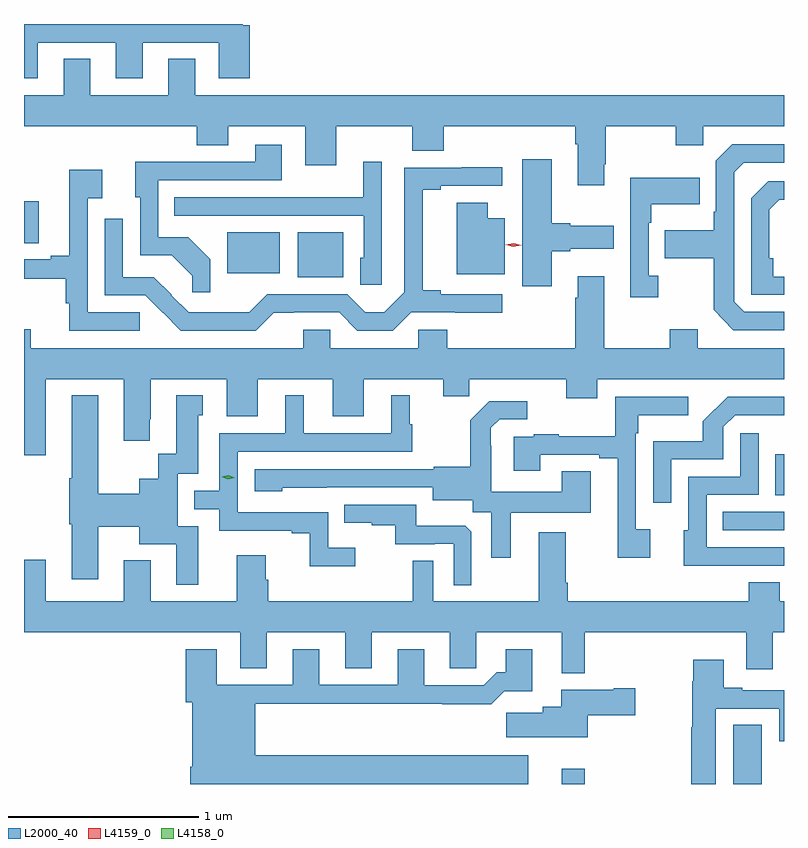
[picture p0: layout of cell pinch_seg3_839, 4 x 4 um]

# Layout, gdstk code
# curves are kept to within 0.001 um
import gdstk
lib = gdstk.Library(unit=1e-6, precision=1e-09)
def R(c, l, rs):  # rectangles x0, y0, x1, y1
    for r in rs: c.add(gdstk.rectangle(r[:2], r[2:], *l))
def P(c, l, *ps):  # polygons
    for p in ps: c.add(gdstk.Polygon(p, *l))
L2000_40 = (2000, 40)
L4158_0 = (4158, 0)
L4159_0 = (4159, 0)

pinch_seg3_839 = lib.new_cell('pinch_seg3_839')
R(pinch_seg3_839, L2000_40, [(723.233,738.746,723.355,738.826), (724.136,738.746,724.285,739.058), (724.081,740.082,724.403,740.178), (724.358,740.267,724.403,740.482), (721.844,741.413,722.083,741.649), (721.472,741.434,721.75,741.649), (720.403,741.592,720.481,741.813)])
P(pinch_seg3_839, L2000_40, [(720.475,742.647),(720.887,742.647),(720.887,742.461),(721.027,742.461),(721.027,742.647),(721.427,742.647),(721.427,742.461),(721.592,742.461),(721.592,742.74),(721.555,742.74),(721.555,742.746),(720.403,742.746),(720.403,742.461),(720.475,742.461)],
  [(721.303,742.562),(721.163,742.562),(721.163,742.372),(720.751,742.372),(720.751,742.562),(720.611,742.562),(720.611,742.372),(720.403,742.372),(720.403,742.208),(721.313,742.208),(721.313,742.109),(721.477,742.109),(721.477,742.208),(721.883,742.208),(721.883,742.002),(722.047,742.002),(722.047,742.208),(722.447,742.208),(722.447,742.08),(722.611,742.08),(722.611,742.208),(723.305,742.208),(723.305,742.112),(723.317,742.112),(723.317,741.897),(723.457,741.897),(723.457,742.009),(723.465,742.009),(723.465,742.208),(723.832,742.208),(723.832,742.109),(723.978,742.109),(723.978,742.208),(724.403,742.208),(724.403,742.372),(721.303,742.372)],
  [(724.403,741.231),(724.194,741.231),(724.14,741.285),(724.14,741.966),(724.191,742.017),(724.403,742.017),(724.403,742.113),(724.131,742.113),(724.044,742.026),(724.044,741.757),(724.032,741.757),(724.032,741.661),(723.775,741.661),(723.775,741.514),(724.032,741.514),(724.032,741.241),(724.137,741.135),(724.403,741.135)],
  [(721.383,741.508),(721.267,741.624),(721.11,741.624),(721.11,741.924),(721.759,741.924),(721.759,742.111),(721.619,742.111),(721.619,742.02),(721.207,742.02),(721.207,742.022),(720.989,742.022),(720.989,741.834),(721.014,741.834),(721.014,741.528),(721.18,741.528),(721.288,741.42),(721.288,741.333),(721.383,741.333)],
  [(723.181,741.551),(723.277,741.551),(723.277,741.563),(723.508,741.563),(723.508,741.685),(723.277,741.685),(723.277,741.698),(723.181,741.698),(723.181,742.033),(723.026,742.033),(723.026,741.366),(723.181,741.366)],
  [(722.286,742.021),(722.189,742.021),(722.189,741.835),(721.855,741.835),(721.855,741.834),(721.195,741.834),(721.195,741.738),(722.19,741.738),(722.19,741.516),(722.174,741.516),(722.174,741.373),(722.286,741.373)],
  [(721.718,741.227),(722.061,741.228),(722.157,741.132),(722.344,741.132),(722.44,741.228),(722.92,741.227),(722.92,741.324),(722.596,741.324),(722.596,741.344),(722.501,741.344),(722.501,741.874),(722.596,741.874),(722.596,741.894),(722.92,741.894),(722.92,741.992),(722.707,741.992),(722.707,741.99),(722.403,741.99),(722.403,741.333),(722.299,741.229),(722.198,741.229),(722.103,741.324),(721.683,741.324),(721.589,741.23),(721.484,741.23),(721.484,741.228),(721.269,741.228),(721.179,741.318),(721.181,741.32),(721.087,741.414),(720.924,741.414),(720.924,741.721),(720.828,741.721),(720.828,741.318),(721.041,741.318),(721.229,741.132),(721.623,741.132)],
  [(721.011,741.228),(720.738,741.228),(720.738,741.83),(720.814,741.83),(720.814,741.979),(720.641,741.979),(720.641,741.527),(720.545,741.527),(720.545,741.507),(720.403,741.507),(720.403,741.406),(720.622,741.406),(720.622,741.275),(720.641,741.275),(720.641,741.132),(721.011,741.132)],
  [(723.742,741.422),(723.69,741.422),(723.69,741.701),(723.703,741.701),(723.703,741.797),(723.959,741.797),(723.959,741.937),(723.594,741.937),(723.594,741.309),(723.742,741.309)],
  [(724.403,741.417),(724.346,741.417),(724.346,741.514),(724.326,741.514),(724.326,741.768),(724.379,741.821),(724.403,741.821),(724.403,741.918),(724.32,741.918),(724.23,741.828),(724.23,741.321),(724.403,741.321)],
  [(722.932,741.724),(722.845,741.724),(722.845,741.805),(722.681,741.805),(722.681,741.428),(722.932,741.428)],
  [(720.517,740.876),(720.929,740.876),(720.929,740.553),(721.066,740.553),(721.066,740.665),(721.069,740.665),(721.069,740.876),(721.469,740.876),(721.469,740.682),(721.633,740.682),(721.633,740.876),(722.027,740.876),(722.027,740.682),(722.191,740.682),(722.191,740.876),(722.609,740.876),(722.609,740.786),(722.747,740.786),(722.747,740.876),(723.257,740.876),(723.257,740.777),(723.421,740.777),(723.421,740.876),(724.403,740.876),(724.403,741.04),(723.949,741.04),(723.949,741.139),(723.802,741.139),(723.802,741.04),(723.457,741.04),(723.457,741.418),(723.317,741.418),(723.317,741.305),(723.305,741.305),(723.305,741.04),(722.63,741.04),(722.63,741.138),(722.478,741.138),(722.478,741.04),(722.016,741.04),(722.016,741.138),(721.874,741.138),(721.874,741.04),(720.439,741.04),(720.439,741.139),(720.403,741.139),(720.403,740.475),(720.517,740.475)],
  [(722.146,739.99),(722.004,739.99),(722.004,740.175),(721.527,740.175),(721.527,740.496),(722.446,740.496),(722.446,740.64),(722.434,740.64),(722.434,740.791),(722.336,740.791),(722.336,740.592),(721.876,740.592),(721.876,740.791),(721.778,740.791),(721.778,740.592),(721.431,740.592),(721.431,740.289),(721.298,740.289),(721.298,740.193),(721.431,740.193),(721.431,740.079),(721.811,740.079),(721.811,740.067),(721.906,740.067),(721.906,739.892),(722.146,739.892)],
  [(721.321,740.103),(721.212,740.103),(721.212,740.379),(721.321,740.379),(721.321,740.688),(721.345,740.688),(721.345,740.791),(721.205,740.791),(721.205,740.484),(721.109,740.484),(721.109,740.353),(721.01,740.353),(721.01,740.273),(720.793,740.273),(720.793,740.791),(720.653,740.791),(720.653,740.356),(720.641,740.356),(720.641,740.112),(720.653,740.112),(720.653,739.824),(720.793,739.824),(720.793,740.101),(721.01,740.101),(721.01,740.009),(721.205,740.009),(721.205,739.794),(721.321,739.794)],
  [(723.81,740.454),(724.083,740.454),(724.083,740.625),(724.146,740.688),(724.403,740.687),(724.403,740.784),(724.106,740.784),(723.976,740.654),(723.976,740.551),(723.714,740.551),(723.714,740.226),(723.81,740.226)],
  [(723.7,740.086),(723.624,740.086),(723.624,740.591),(723.637,740.591),(723.637,740.687),(723.898,740.687),(723.898,740.784),(723.516,740.784),(723.516,740.576),(723.217,740.576),(723.217,740.587),(723.085,740.587),(723.085,740.574),(722.981,740.574),(722.981,740.394),(723.121,740.394),(723.121,740.478),(723.431,740.478),(723.431,740.46),(723.527,740.46),(723.527,739.938),(723.7,739.938)],
  [(722.965,740.174),(723.385,740.174),(723.385,740.393),(723.233,740.393),(723.233,740.284),(722.862,740.284),(722.862,740.525),(722.86,740.525),(722.86,740.62),(722.907,740.667),(723.052,740.667),(723.052,740.761),(722.851,740.761),(722.751,740.661),(722.751,740.416),(722.559,740.416),(722.559,740.403),(721.617,740.403),(721.617,740.288),(721.761,740.288),(721.761,740.306),(722.555,740.307),(722.555,740.24),(722.766,740.24),(722.766,740.176),(722.861,740.176),(722.861,739.938),(722.965,739.938)],
  [(724.093,739.896),(724.403,739.896),(724.403,739.992),(723.996,739.992),(723.996,740.268),(724.269,740.268),(724.269,740.593),(724.173,740.593),(724.173,740.364),(723.9,740.364),(723.9,740.082),(723.875,740.082),(723.875,739.895),(724.093,739.895)],
  [(722.757,740.073),(722.725,740.105),(722.467,740.105),(722.467,740.217),(722.089,740.217),(722.089,740.12),(722.233,740.12),(722.233,740.109),(722.357,740.109),(722.357,740.007),(722.564,740.007),(722.564,740.01),(722.664,740.01),(722.664,739.793),(722.757,739.793)],
  [(723.355,739.544),(724.205,739.544),(724.205,739.35),(724.345,739.35),(724.345,739.544),(724.403,739.544),(724.403,739.708),(724.381,739.708),(724.381,739.807),(724.217,739.807),(724.217,739.708),(723.266,739.708),(723.266,739.804),(723.253,739.804),(723.253,740.071),(723.113,740.071),(723.113,739.708),(722.556,739.708),(722.556,739.922),(722.448,739.922),(722.448,739.708),(721.688,739.708),(721.688,739.821),(721.675,739.821),(721.675,739.951),(721.523,739.951),(721.523,739.708),(721.069,739.708),(721.069,739.924),(720.929,739.924),(720.929,739.708),(720.517,739.708),(720.517,739.927),(720.403,739.927),(720.403,739.544),(721.541,739.544),(721.541,739.354),(721.681,739.354),(721.681,739.544),(722.093,739.544),(722.093,739.354),(722.233,739.354),(722.233,739.544),(722.645,739.544),(722.645,739.354),(722.784,739.354),(722.784,739.544),(723.233,739.544),(723.233,739.328),(723.355,739.328)],
  [(723.058,738.898),(721.621,738.898),(721.621,739.168),(722.605,739.168),(722.605,739.166),(722.861,739.166),(722.93,739.235),(723.079,739.235),(723.079,739.456),(722.939,739.456),(722.939,739.333),(722.89,739.333),(722.823,739.266),(722.509,739.266),(722.509,739.456),(722.369,739.456),(722.369,739.269),(721.957,739.269),(721.957,739.456),(721.817,739.456),(721.817,739.269),(721.417,739.269),(721.417,739.456),(721.253,739.456),(721.253,739.176),(721.289,739.176),(721.289,738.838),(721.277,738.838),(721.277,738.746),(723.058,738.746)],
  [(724.045,739.143),(724.379,739.143),(724.379,738.972),(724.403,738.972),(724.403,739.239),(724.183,739.239),(724.183,739.252),(724.087,739.252),(724.087,739.399),(723.926,739.399),(723.926,739.286),(723.919,739.286),(723.919,739.046),(723.914,739.046),(723.914,738.746),(724.045,738.746)],
  [(723.37,739.109),(723.619,739.109),(723.619,739.251),(723.506,739.251),(723.506,739.243),(723.23,739.243),(723.23,739.153),(723.134,739.153),(723.134,739.121),(722.94,739.121),(722.94,738.992),(723.37,738.992)])
P(pinch_seg3_839, L4158_0, [(721.476,740.35),(721.443,740.363),(721.442,740.363),(721.443,740.363),(721.478,740.37),(721.511,740.357),(721.511,740.357),(721.511,740.357)])
P(pinch_seg3_839, L4159_0, [(722.979,741.573),(722.939,741.583),(722.938,741.583),(722.939,741.584),(722.98,741.593),(723.02,741.582),(723.02,741.582),(723.02,741.582)])

lib.write_gds('pinch_seg3_839.gds')
